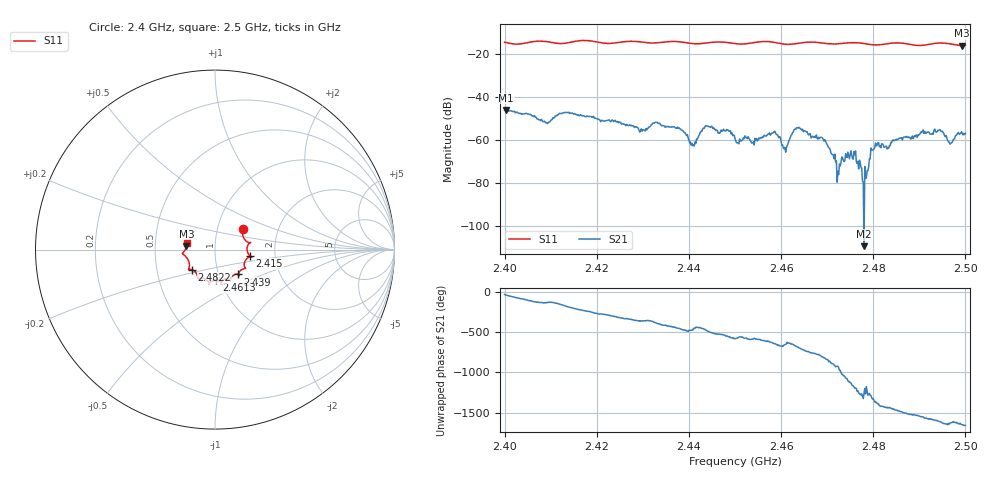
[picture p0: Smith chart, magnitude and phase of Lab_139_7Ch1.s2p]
# Hz S RI R 50
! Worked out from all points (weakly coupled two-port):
!   601 points, 2.4 GHz to 2.5 GHz, reference 50 ohm
!   highest |S21| = -45.98 dB at 2.4003 GHz (marker M1); lowest = -109.5 dB at 2.478 GHz (marker M2)
!   lowest |S11| = -15.9 dB at 2.4992 GHz (marker M3), VSWR 1.38, Z = 36.3 + j1.4 ohm
!   |S11| at or under -10 dB: start of sweep to end of sweep
!   S12 and S22 are empty: the file has one direction only
!   S11 on the Smith chart (normalised r, x): 2.4 GHz: 1.33, +0.31; 2.415 GHz: 1.48, -0.11; 2.439 GHz: 1.24, -0.36; 2.4613 GHz: 0.96, -0.34; 2.4822 GHz: 0.75, -0.17; 2.5 GHz: 0.73, +0.05
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2.4e9  0.1548 0.1121  0.00432 -0.00242  0 0  0 0
2.400333e9  0.1542 0.1075  0.00405 -0.00296  0 0  0 0
2.415e9  0.1942 -0.0353  -0.00373 0.00148  0 0  0 0
2.416667e9  0.2052 -0.0428  -0.00276 0.00256  0 0  0 0
2.433333e9  0.1322 -0.1318  0.00206 -0.00133  0 0  0 0
2.439e9  0.1284 -0.1386  -0.0006 -0.00139  0 0  0 0
2.440667e9  0.1129 -0.1378  -0.00033 -0.000767  0 0  0 0
2.444e9  0.086 -0.1639  -0.00115 -0.00179  0 0  0 0
2.45e9  0.0686 -0.1638  -0.000836 0.000701  0 0  0 0
2.4585e9  0.0367 -0.1863  0.000315 0.00153  0 0  0 0
2.461333e9  0.00735 -0.1703  -8.58e-05 0.000745  0 0  0 0
2.4635e9  -0.0222 -0.1777  0.00148 0.00128  0 0  0 0
2.466667e9  -0.0331 -0.1897  0.000955 -0.000687  0 0  0 0
2.469333e9  -0.0374 -0.1772  -0.000136 -0.000935  0 0  0 0
2.472333e9  -0.069 -0.1608  -0.000172 7.55e-05  0 0  0 0
2.475667e9  -0.0932 -0.1617  9.95e-06 -0.000358  0 0  0 0
2.478e9  -0.0972 -0.1495  -3.34e-06 3.19e-07  0 0  0 0
2.48e9  -0.107 -0.1273  -0.000211 0.000556  0 0  0 0
2.482167e9  -0.1285 -0.1122  0.000747 0.000189  0 0  0 0
2.483333e9  -0.1398 -0.1105  0.000638 3.76e-06  0 0  0 0
2.499167e9  -0.1591 0.0188  -0.00138 0.000738  0 0  0 0
2.5e9  -0.158 0.034  -0.0011 0.000921  0 0  0 0
